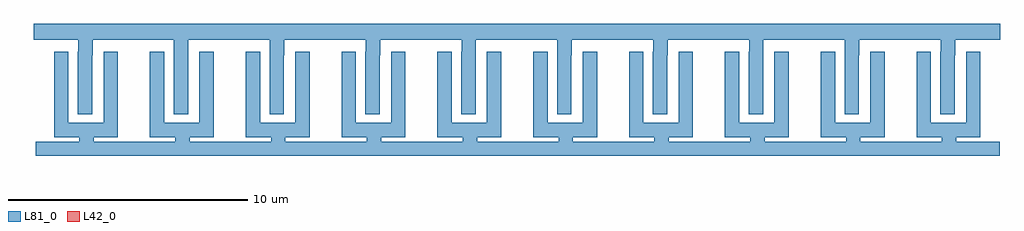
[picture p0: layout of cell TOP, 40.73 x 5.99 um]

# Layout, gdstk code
import gdstk
lib = gdstk.Library(unit=1e-6, precision=5e-09)
def R(c, l, rs):  # rectangles x0, y0, x1, y1
    for r in rs: c.add(gdstk.rectangle(r[:2], r[2:], *l))
def P(c, l, *ps):  # polygons
    for p in ps: c.add(gdstk.Polygon(p, *l))
L42_0 = (42, 0)
L81_0 = (81, 0)

mom_unit = lib.new_cell('MOM_UNIT')
R(mom_unit, L81_0, [(0.065,-5.5,4.315,-4.925), (0,-0.67,4.32,0)])
mom_unit.add(gdstk.FlexPath([(2.135,-1.175),(2.135,-3.775)], 0.6, ends="flush", simple_path=True, layer=81, datatype=0))  # L81_0
mom_unit.add(gdstk.FlexPath([(1.14,-1.175),(1.14,-4.435),(3.205,-4.435),(3.205,-1.17)], 0.6, ends="flush", simple_path=True, layer=81, datatype=0))  # L81_0
mom_unit.add(gdstk.FlexPath([(2.145,-1.325),(2.145,-0.36)], 0.6, ends="flush", simple_path=True, layer=81, datatype=0))  # L81_0
mom_unit.add(gdstk.FlexPath([(2.195,-4.59),(2.195,-5.325)], 0.6, ends="flush", simple_path=True, layer=81, datatype=0))  # L81_0
mom_unit.add(gdstk.Label('t', (3.775,-0.46), layer=81, texttype=10))
mom_unit.add(gdstk.Label('b', (3.875,-5.39), layer=81, texttype=10))

top = lib.new_cell('TOP')
P(top, L42_0, [(-1.79,2.685),(-1.79,2.685),(-1.79,2.685),(-1.79,2.685)])
top.add(gdstk.Reference(mom_unit, (-1.375,8.675)))
top.add(gdstk.Reference(mom_unit, (2.625,8.675)))
top.add(gdstk.Reference(mom_unit, (6.625,8.675)))
top.add(gdstk.Reference(mom_unit, (10.625,8.675)))
top.add(gdstk.Reference(mom_unit, (14.625,8.675)))
top.add(gdstk.Reference(mom_unit, (18.625,8.675)))
top.add(gdstk.Reference(mom_unit, (22.625,8.675)))
top.add(gdstk.Reference(mom_unit, (26.625,8.675)))
top.add(gdstk.Reference(mom_unit, (30.625,8.675)))
top.add(gdstk.Reference(mom_unit, (34.625,8.675)))

lib.write_gds('TOP.gds')
